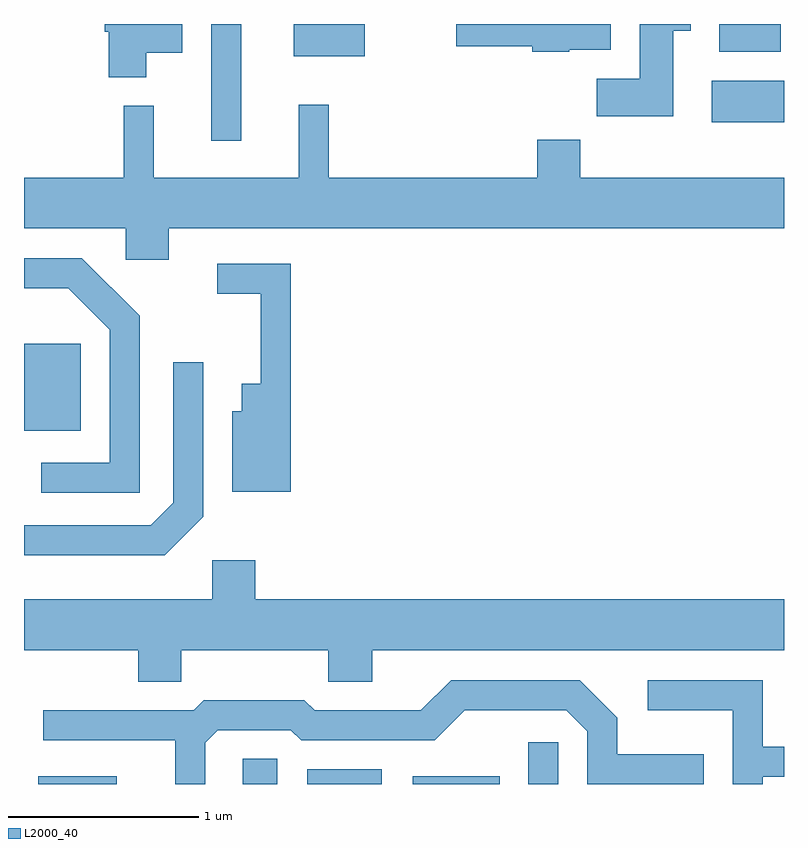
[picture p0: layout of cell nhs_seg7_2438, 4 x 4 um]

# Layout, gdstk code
import gdstk
lib = gdstk.Library(unit=1e-6, precision=1e-09)
def R(c, l, rs):  # rectangles x0, y0, x1, y1
    for r in rs: c.add(gdstk.rectangle(r[:2], r[2:], *l))
def P(c, l, *ps):  # polygons
    for p in ps: c.add(gdstk.Polygon(p, *l))
L2000_40 = (2000, 40)

nhs_seg7_2438 = lib.new_cell('nhs_seg7_2438')
R(nhs_seg7_2438, L2000_40, [(259.686,1740.252,260.099,1740.294), (260.761,1740.252,260.944,1740.384), (261.101,1740.252,261.494,1740.329), (261.656,1740.252,262.114,1740.294), (262.266,1740.252,262.424,1740.473), (259.611,1742.111,259.909,1742.569), (260.596,1743.638,260.754,1744.252), (263.231,1743.736,263.611,1743.954), (261.031,1744.081,261.404,1744.252), (263.271,1744.106,263.594,1744.252)])
P(nhs_seg7_2438, L2000_40, [(262.48,1744.116),(262.699,1744.116),(262.699,1744.252),(261.886,1744.252),(261.886,1744.136),(262.286,1744.136),(262.286,1744.106),(262.48,1744.106)],
  [(263.029,1744.216),(263.119,1744.216),(263.119,1744.252),(262.851,1744.252),(262.851,1743.964),(262.626,1743.964),(262.626,1743.766),(263.029,1743.766)],
  [(260.254,1744.101),(260.444,1744.101),(260.444,1744.252),(260.036,1744.252),(260.036,1744.211),(260.056,1744.211),(260.056,1743.971),(260.254,1743.971)],
  [(260.374,1743.176),(263.611,1743.176),(263.611,1743.444),(262.539,1743.444),(262.539,1743.644),(262.311,1743.644),(262.311,1743.444),(261.214,1743.444),(261.214,1743.828),(261.056,1743.828),(261.056,1743.444),(260.294,1743.444),(260.294,1743.823),(260.136,1743.823),(260.136,1743.444),(259.611,1743.444),(259.611,1743.176),(260.146,1743.176),(260.146,1743.011),(260.374,1743.011)],
  [(260.219,1742.717),(259.916,1743.019),(259.611,1743.019),(259.611,1742.861),(259.844,1742.861),(260.061,1742.644),(260.061,1741.944),(259.703,1741.944),(259.703,1741.786),(260.219,1741.786)],
  [(261.014,1742.989),(260.628,1742.989),(260.628,1742.831),(260.856,1742.831),(260.856,1742.359),(260.756,1742.359),(260.756,1742.214),(260.706,1742.214),(260.706,1741.791),(261.014,1741.791)],
  [(260.554,1741.659),(260.554,1742.473),(260.396,1742.473),(260.396,1741.732),(260.279,1741.614),(259.611,1741.614),(259.611,1741.456),(260.352,1741.456)],
  [(260.439,1740.956),(261.211,1740.956),(261.211,1740.791),(261.444,1740.791),(261.444,1740.956),(263.611,1740.956),(263.611,1741.224),(260.829,1741.224),(260.829,1741.429),(260.601,1741.429),(260.601,1741.224),(259.611,1741.224),(259.611,1740.956),(260.211,1740.956),(260.211,1740.791),(260.439,1740.791)],
  [(263.499,1740.291),(263.611,1740.291),(263.611,1740.449),(263.499,1740.449),(263.499,1740.799),(262.893,1740.799),(262.893,1740.641),(263.341,1740.641),(263.341,1740.252),(263.499,1740.252)],
  [(260.564,1740.469),(260.632,1740.536),(261.014,1740.536),(261.069,1740.481),(261.772,1740.481),(261.932,1740.641),(262.464,1740.641),(262.576,1740.529),(262.576,1740.252),(263.189,1740.252),(263.189,1740.409),(262.734,1740.409),(262.734,1740.602),(262.537,1740.799),(261.859,1740.799),(261.699,1740.639),(261.142,1740.639),(261.087,1740.694),(260.558,1740.694),(260.504,1740.639),(259.712,1740.639),(259.712,1740.481),(260.406,1740.481),(260.406,1740.252),(260.564,1740.252)])

lib.write_gds('nhs_seg7_2438.gds')
